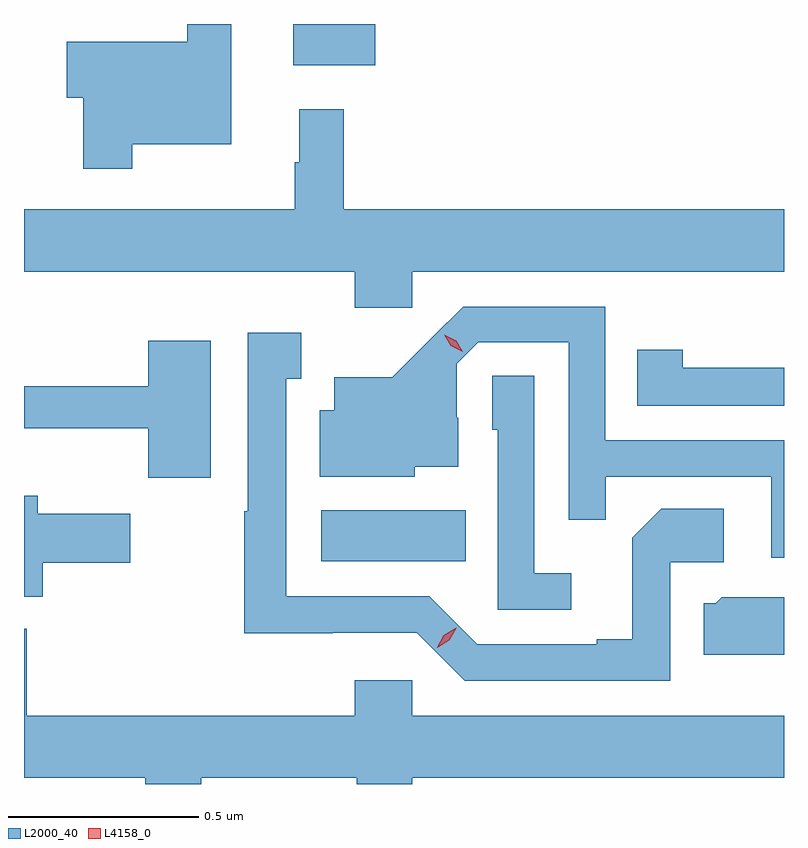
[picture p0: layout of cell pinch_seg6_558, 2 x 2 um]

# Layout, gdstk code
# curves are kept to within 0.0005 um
import gdstk
lib = gdstk.Library(unit=1e-6, precision=1e-09)
def R(c, l, rs):  # rectangles x0, y0, x1, y1
    for r in rs: c.add(gdstk.rectangle(r[:2], r[2:], *l))
def P(c, l, *ps):  # polygons
    for p in ps: c.add(gdstk.Polygon(p, *l))
L2000_40 = (2000, 40)
L4158_0 = (4158, 0)

pinch_seg6_558 = lib.new_cell('pinch_seg6_558')
R(pinch_seg6_558, L2000_40, [(797.826,918.602,798.206,918.736), (797.753,919.907,797.968,920.016)])
P(pinch_seg6_558, L2000_40, [(797.329,919.7),(797.59,919.7),(797.59,920.016),(797.473,920.016),(797.473,919.969),(797.156,919.969),(797.156,919.822),(797.2,919.822),(797.2,919.635),(797.329,919.635)],
  [(798.066,919.364),(799.044,919.364),(799.044,919.528),(797.885,919.528),(797.885,919.792),(797.768,919.792),(797.768,919.652),(797.757,919.652),(797.757,919.528),(797.044,919.528),(797.044,919.364),(797.915,919.364),(797.915,919.269),(798.066,919.269)],
  [(799.044,918.921),(798.573,918.921),(798.573,919.272),(798.2,919.272),(798.013,919.087),(797.861,919.087),(797.861,919),(797.822,919),(797.822,918.824),(798.072,918.824),(798.072,918.851),(798.187,918.851),(798.187,918.98),(798.183,918.98),(798.183,919.122),(798.24,919.179),(798.477,919.179),(798.477,918.712),(798.575,918.712),(798.575,918.825),(799.011,918.825),(799.011,918.612),(799.044,918.612)],
  [(798.744,918.6),(798.886,918.6),(798.886,918.74),(798.721,918.74),(798.645,918.664),(798.645,918.397),(798.551,918.397),(798.551,918.384),(798.237,918.384),(798.111,918.51),(797.734,918.51),(797.734,919.083),(797.773,919.083),(797.773,919.204),(797.633,919.204),(797.633,918.734),(797.623,918.734),(797.623,918.413),(797.856,918.413),(797.856,918.414),(798.078,918.414),(798.204,918.288),(798.744,918.288)],
  [(797.536,919.183),(797.371,919.183),(797.371,919.063),(797.044,919.063),(797.044,918.952),(797.371,918.952),(797.371,918.822),(797.536,918.822)],
  [(799.044,919.112),(798.777,919.112),(798.777,919.159),(798.658,919.159),(798.658,919.011),(799.044,919.011)],
  [(798.484,918.571),(798.387,918.571),(798.387,919.091),(798.276,919.091),(798.276,918.948),(798.291,918.948),(798.291,918.474),(798.484,918.474)],
  [(797.093,918.598),(797.323,918.598),(797.323,918.727),(797.08,918.727),(797.08,918.775),(797.044,918.775),(797.044,918.509),(797.093,918.509)],
  [(799.044,918.507),(799.014,918.507),(799.014,918.508),(798.88,918.508),(798.864,918.492),(798.833,918.492),(798.833,918.356),(799.044,918.356)],
  [(797.511,918.032),(797.92,918.032),(797.92,918.016),(798.066,918.016),(798.066,918.032),(799.044,918.032),(799.044,918.196),(798.066,918.196),(798.066,918.289),(797.915,918.289),(797.915,918.196),(797.051,918.196),(797.051,918.424),(797.044,918.424),(797.044,918.032),(797.363,918.032),(797.363,918.016),(797.511,918.016)])
P(pinch_seg6_558, L4158_0, [(798.198,919.154),(798.167,919.169),(798.15,919.198),(798.15,919.198),(798.15,919.198),(798.181,919.183),(798.198,919.154),(798.198,919.154)],
  [(798.131,918.375),(798.131,918.376),(798.149,918.408),(798.181,918.427),(798.181,918.427),(798.181,918.426),(798.163,918.394),(798.131,918.375)])

lib.write_gds('pinch_seg6_558.gds')
